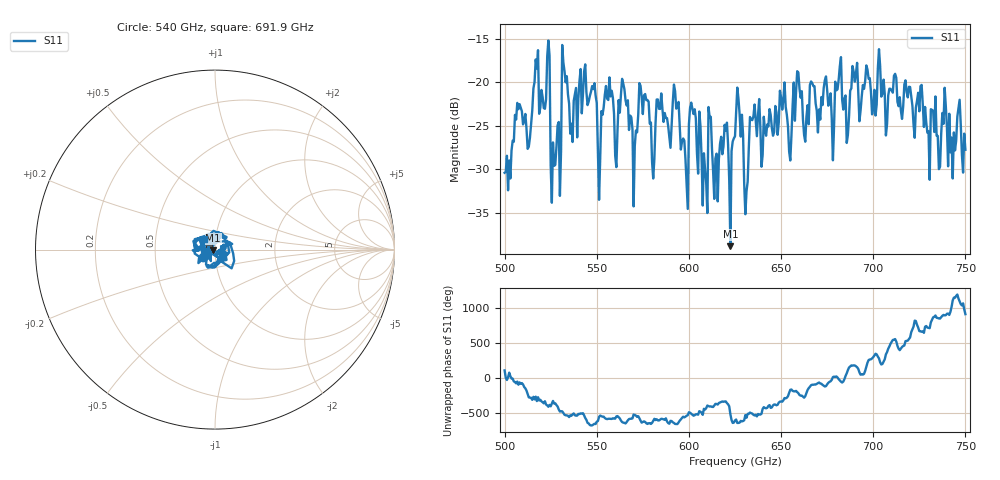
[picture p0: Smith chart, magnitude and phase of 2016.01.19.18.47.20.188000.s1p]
!Created with skrf (http://scikit-rf.org).
# GHz S RI R 50.0
!freq ReS11 ImS11
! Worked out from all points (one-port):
!   401 points, 500 GHz to 750 GHz, reference 50 ohm
!   lowest |S11| = -38.9 dB at 622.5 GHz (marker M1), VSWR 1.02, Z = 49 - j0.465 ohm
!   |S11| at or under -10 dB: start of sweep to end of sweep
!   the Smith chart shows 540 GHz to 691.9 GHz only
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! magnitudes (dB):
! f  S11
! 500 GHz  -30.4
! 506.9 GHz  -22.4
! 513.8 GHz  -26.4
! 516.9 GHz  -17.4
! 523.1 GHz  -17.0
! 526.2 GHz  -26.9
! 531.2 GHz  -15.7
! 548.1 GHz  -20.8
! 551.9 GHz  -28.7
! 555.6 GHz  -21.9
! 562.5 GHz  -23.5
! 570.6 GHz  -27.3
! 574.4 GHz  -21.7
! 580 GHz  -29.1
! 593.8 GHz  -22.9
! 598.1 GHz  -28.9
! 601.9 GHz  -23.0
! 608.8 GHz  -30.0
! 611.9 GHz  -24.0
! 622.5 GHz  -38.9
! 625 GHz  -26.2
! 627.5 GHz  -23.7
! 631.2 GHz  -32.5
! 634.4 GHz  -24.4
! 656.2 GHz  -22.8
! 687.5 GHz  -21.0
! 718.8 GHz  -21.7
! 750 GHz  -27.8
